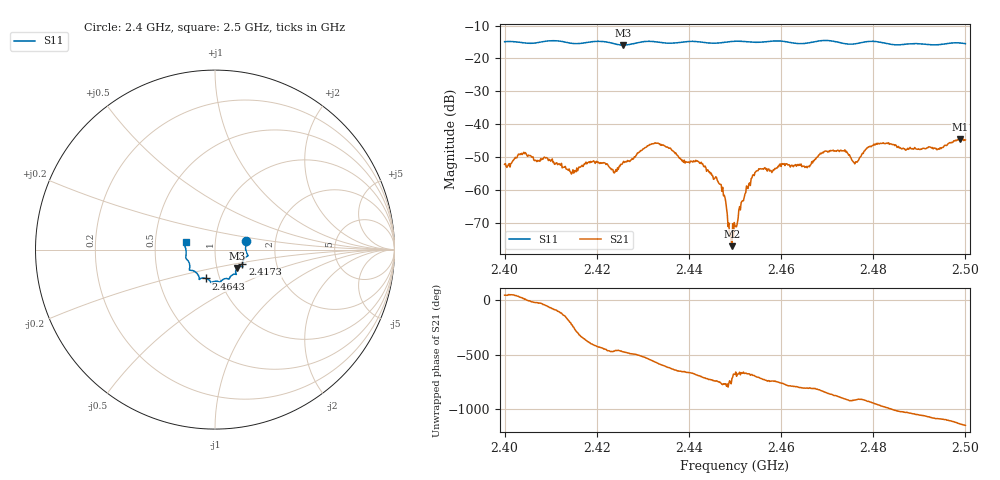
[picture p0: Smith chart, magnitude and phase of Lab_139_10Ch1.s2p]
# Hz S RI R 50
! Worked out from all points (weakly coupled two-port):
!   601 points, 2.4 GHz to 2.5 GHz, reference 50 ohm
!   highest |S21| = -44.51 dB at 2.4988 GHz (marker M1); lowest = -77.2 dB at 2.4493 GHz (marker M2)
!   lowest |S11| = -15.9 dB at 2.4257 GHz (marker M3), VSWR 1.38, Z = 62.5 - j13.1 ohm
!   |S11| at or under -10 dB: start of sweep to end of sweep
!   S12 and S22 are empty: the file has one direction only
!   S11 on the Smith chart (normalised r, x): 2.4 GHz: 1.41, +0.14; 2.4173 GHz: 1.34, -0.23; 2.4643 GHz: 0.86, -0.28; 2.5 GHz: 0.72, +0.06
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2.4e9  0.1736 0.0494  0.00176 0.0017  0 0  0 0
2.404167e9  0.1716 0.023  0.00362 0.000889  0 0  0 0
2.414667e9  0.1616 -0.0521  -0.00122 0.00135  0 0  0 0
2.416667e9  0.1531 -0.0746  0.00212 0.000885  0 0  0 0
2.417333e9  0.1524 -0.082  0.0025 0.000204  0 0  0 0
2.425667e9  0.1229 -0.1024  -0.00105 -0.00236  0 0  0 0
2.433333e9  0.1127 -0.1369  -0.00391 0.0033  0 0  0 0
2.446333e9  0.045 -0.1661  0.00118 -0.000597  0 0  0 0
2.4475e9  0.0377 -0.1714  0.000568 -0.000575  0 0  0 0
2.448833e9  0.0325 -0.1775  0.000187 -6.14e-05  0 0  0 0
2.449333e9  0.0313 -0.1791  0.000138 1.87e-06  0 0  0 0
2.45e9  0.0292 -0.1809  0.000218 0.000183  0 0  0 0
2.452667e9  0.0194 -0.1781  0.000766 0.000743  0 0  0 0
2.454833e9  0.00335 -0.1762  0.00188 0.000515  0 0  0 0
2.464333e9  -0.0498 -0.1607  0.000395 -0.00244  0 0  0 0
2.466667e9  -0.0761 -0.1596  6.55e-05 -0.00268  0 0  0 0
2.471167e9  -0.087 -0.1622  -0.00332 -0.0022  0 0  0 0
2.476167e9  -0.1181 -0.1191  -0.00259 0.000589  0 0  0 0
2.483333e9  -0.1404 -0.0898  -2.75e-05 0.00522  0 0  0 0
2.494167e9  -0.1622 8.78e-05  0.00418 -0.00048  0 0  0 0
2.498833e9  -0.1685 0.0357  0.0036 -0.00474  0 0  0 0
2.5e9  -0.1632 0.0421  0.00223 -0.0053  0 0  0 0
